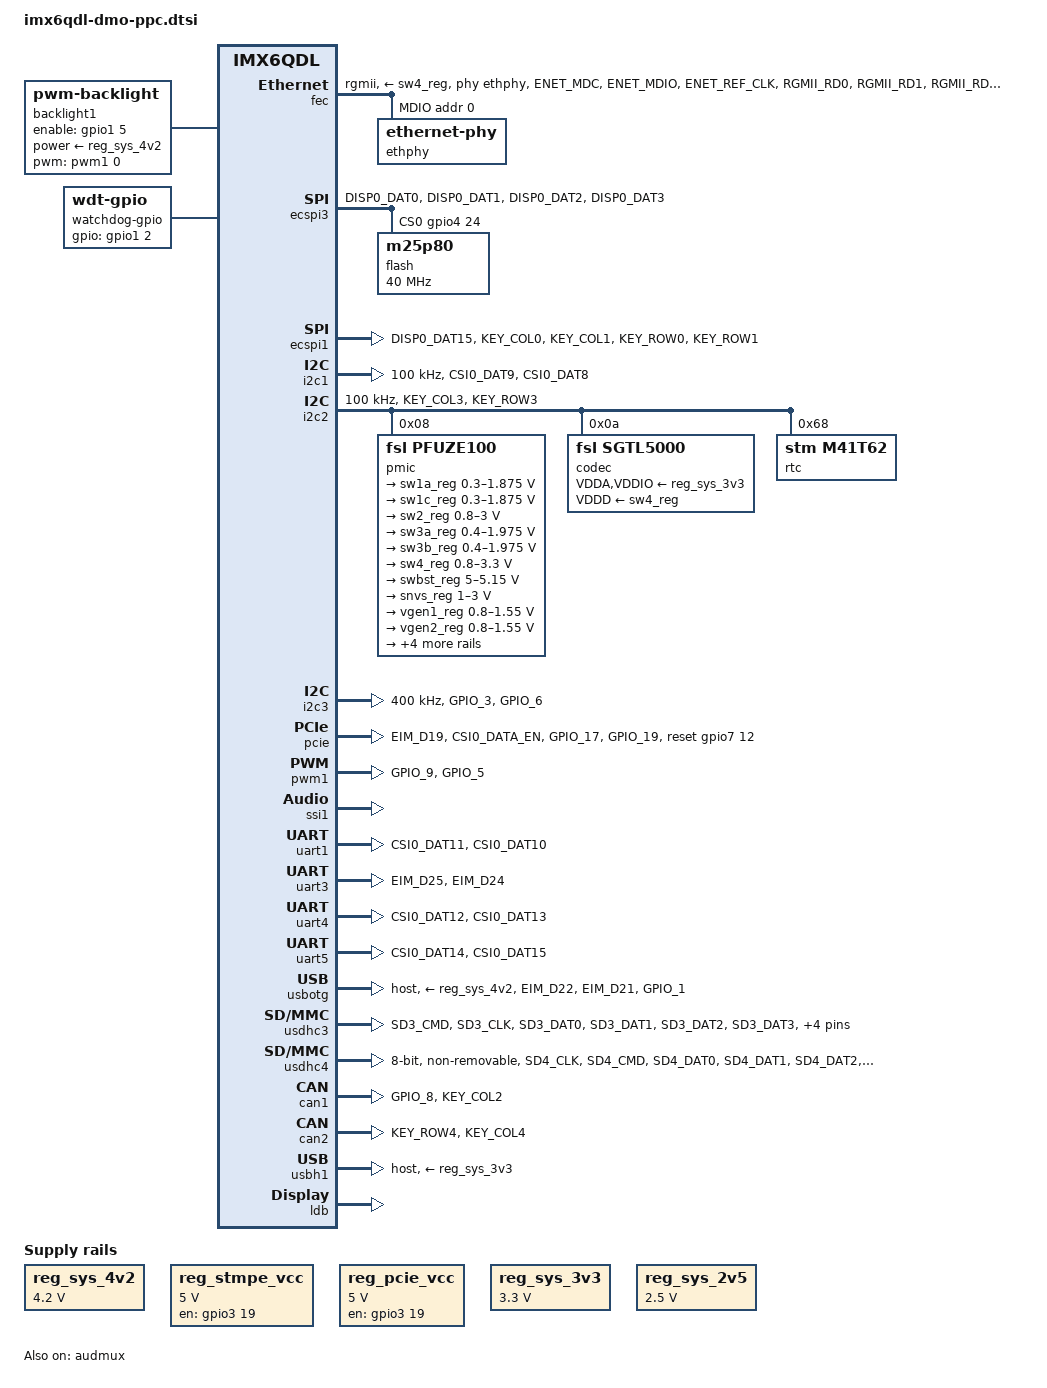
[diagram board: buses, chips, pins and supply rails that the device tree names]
/*
 * Copyright 2011 Freescale Semiconductor, Inc.
 * Copyright 2011 Linaro Ltd.
 * Copyright 2017 Data Modul AG, Reyhaneh Yazdani <reyhane.y84@gmail.com>
 *
 * The code contained herein is licensed under the GNU General Public
 * License. You may obtain a copy of the GNU General Public License
 * Version 2 or later at the following locations:
 *
 * http://www.opensource.org/licenses/gpl-license.html
 * http://www.gnu.org/copyleft/gpl.html
 */

#include <dt-bindings/gpio/gpio.h>
#include <dt-bindings/net/ti-dp83867.h>

/ {
	chosen {
		linux,stdout-path = &uart1;
	};

	clocks {
		rmii_clk: clock@0 {
			compatible = "fixed-clock";
			reg = <0>;
			#clock-cells = <0>;
			clock-frequency = <50000000>; /* 50MHz */
		};
		
		anaclk1 {
			compatible = "fixed-clock";
			reg = <0>;
			#clock-cells = <0>;
			clock-frequency = <100000000>; /* 100MHz */
		};
	};

	soc {
		pcie2: pcie2@0x01000000 {
			compatible = "fsl,imx6q-pcie", "snps,dw-pcie";
			reg = <0x01ffc000 0x04000>,
			      <0x01f00000 0x80000>;
			reg-names = "dbi", "config";
			#address-cells = <3>;
			#size-cells = <2>;
			device_type = "pci";
			ranges = <0x00000800 0 0x01f00000 0x01f00000 0 0x00080000 /* configuration space */
				  0x81000000 0 0          0x01f80000 0 0x00010000 /* downstream I/O  */
				  0x82000000 0 0x01000000 0x01000000 0 0x00f00000>; /* non-prefetchable  memory */
			num-lanes = <1>;
			interrupts = <GIC_SPI 120 IRQ_TYPE_LEVEL_HIGH>;
			interrupt-names = "msi";
			#interrupt-cells = <1>;
			interrupt-map-mask = <0 0 0 0x7>;
			interrupt-map = <0 0 0 1 &gpc GIC_SPI 123 IRQ_TYPE_LEVEL_HIGH>,
			                <0 0 0 2 &gpc GIC_SPI 122 IRQ_TYPE_LEVEL_HIGH>,
			                <0 0 0 3 &gpc GIC_SPI 121 IRQ_TYPE_LEVEL_HIGH>,
			                <0 0 0 4 &gpc GIC_SPI 120 IRQ_TYPE_LEVEL_HIGH>;
			clocks = <&clks IMX6QDL_CLK_PCIE_AXI>,
				 <&clks IMX6QDL_CLK_LVDS1_GATE>,
				 <&clks IMX6QDL_CLK_PCIE_REF_125M>;
			clock-names = "pcie", "pcie_bus", "pcie_phy";
			status = "disabled";
		};

		aips-bus@02100000 { /* AIPS2 */
			fec: ethernet@02188000 {
				compatible = "fsl,imx6q-fec";
				reg = <0x02188000 0x4000>;
				interrupts-extended =
					<&intc 0 118 IRQ_TYPE_LEVEL_HIGH>,
					<&intc 0 119 IRQ_TYPE_LEVEL_HIGH>;
				clocks = <&clks IMX6QDL_CLK_ENET>,
					 <&clks IMX6QDL_CLK_ENET>,
					 <&clks IMX6QDL_CLK_ENET_REF>,
					 <&rmii_clk>;
				clock-names = "ipg", "ahb", "ptp";
				status = "disabled";
			};

			ocotp: ocotp@021bc000 {
				compatible = "fsl,imx6q-ocotp", "syscon";
				reg = <0x021bc000 0x4000>;
				clocks = <&clks IMX6QDL_CLK_IIM>;
			};
		};
	};

	backlight1: backlight {
		compatible = "pwm-backlight";

		pwms = <&pwm1 0 5000000>;

		enable-gpios = <&gpio1 5 GPIO_ACTIVE_HIGH>;
		power-supply = <&reg_sys_4v2>;

		brightness-levels = <0 1 10 20 30 40 50 60 70 75 80 90 100>;
		default-brightness-level = <7>;
	};

	regulators {
		compatible = "simple-bus";

		#address-cells = <1>;
		#size-cells = <0>;

		reg_sys_4v2: regulator@1 {
			compatible = "regulator-fixed";
			reg = <0>;
			regulator-name = "sys_4v2";
			regulator-min-microvolt = <4200000>;
			regulator-max-microvolt = <4200000>;
			regulator-boot-on;
			regulator-always-on;
		};

		reg_stmpe_vcc: regulator@2 {
			compatible = "regulator-fixed";
			reg = <1>;

			regulator-name = "stmpe_vcc";
			regulator-min-microvolt = <5000000>;
			regulator-max-microvolt = <5000000>;
			gpio = <&gpio3 19 GPIO_ACTIVE_HIGH>;
			enable-active-high;
			regulator-always-on;
		};

		reg_pcie_vcc: regulator@3 {
			compatible = "regulator-fixed";
			reg = <2>;

			regulator-name = "pcie_vcc";
			regulator-min-microvolt = <5000000>;
			regulator-max-microvolt = <5000000>;
			gpio = <&gpio3 19 GPIO_ACTIVE_HIGH>;
			enable-active-high;
			regulator-always-on;
		};

		reg_sys_3v3: regulator@4 {
			compatible = "regulator-fixed";
			reg = <3>;
			regulator-name = "sys_3v3";
			regulator-min-microvolt = <3300000>;
			regulator-max-microvolt = <3300000>;
			regulator-boot-on;
			regulator-always-on;
		};

		reg_sys_2v5: regulator@5 {
			compatible = "regulator-fixed";
			reg = <4>;
			regulator-name = "sys_2v5";
			regulator-min-microvolt = <2500000>;
			regulator-max-microvolt = <2500000>;
			regulator-boot-on;
			regulator-always-on;
		};
	};

	sound {
		compatible = "fsl,imx-audio-sgtl5000";
		model = "imx6qdl-dmo-ppc-sgtl5000";
		ssi-controller = <&ssi1>;
		audio-codec = <&codec>;
		audio-routing =
			"Line Out Jack", "LINE_OUT",
			"Headphone Jack", "HP_OUT",
			"Mic Jack", "MIC_IN",
			"Mic Bias", "Mic Jack";
		mux-int-port = <1>;
		mux-ext-port = <3>;
	};

	watchdog-gpio {
		pinctrl-names = "default";
		pinctrl-0 = <&pinctrl_watchdog>;
		compatible = "linux,wdt-gpio";
		gpios = <&gpio1 2 GPIO_ACTIVE_HIGH>;
		hw_algo = "level";
		hw_margin_ms = <306>;
		status = "okay";
	};
};

&audmux {
	pinctrl-names = "default";
	pinctrl-0 = <&pinctrl_audmux>;
	status = "okay";
};

&ecspi3 {
	pinctrl-names = "default";
	pinctrl-0 = <&pinctrl_ecspi3>;

	fsl,spi-num-chipselects = <1>;
	cs-gpios = <&gpio4 24 GPIO_ACTIVE_HIGH>;

	status = "okay";

	flash: m25p80@0 {
		compatible = "m25p80";
		spi-max-frequency = <40000000>;
		reg = <0>;

		#address-cells = <1>;
		#size-cells = <1>;
	};
};

&ecspi1 {
	pinctrl-names = "default";
	pinctrl-0 = <&pinctrl_ecspi1>;

	fsl,spi-num-chipselects = <2>;
	cs-gpios = <&gpio4 9 GPIO_ACTIVE_HIGH>, /* GPIO4_09 */
		   <&gpio5 9 GPIO_ACTIVE_HIGH>; /* GPIO5_09 */

	status = "okay";

	/* The spidev node is not available by default since it is no more
	 * supported in device trees. To have a dummy spi device, the following
	 * nodes should be enabled( status = "okay" ) and in kernel config
	 * CONFIG_SPI_SPIDEV=y
	 */

	spidev@0 {
		reg = <0>;
		compatible = "spidev";
		spi-max-frequency = <1000000>;
		status = "disabled";
	};

	spidev@1 {
		reg = <1>;
		compatible = "spidev";
		spi-max-frequency = <1000000>;
		status = "disabled";
	};
};

&i2c1 {
	pinctrl-names = "default";
	pinctrl-0 = <&pinctrl_i2c1>;

	clock-frequency = <100000>;

	status = "okay";
};

&i2c2 {
	pinctrl-names = "default";
	pinctrl-0 = <&pinctrl_i2c2>;

	clock-frequency = <100000>;

	status = "okay";

	pmic: pfuze100@08 {
		compatible = "fsl,pfuze100";
		reg = <0x08>;

		regulators {
			sw1a_reg: sw1ab {
				regulator-min-microvolt = <300000>;
				regulator-max-microvolt = <1875000>;
				regulator-boot-on;
				regulator-always-on;
				regulator-ramp-delay = <6250>;
			};

			sw1c_reg: sw1c {
				regulator-min-microvolt = <300000>;
				regulator-max-microvolt = <1875000>;
				regulator-boot-on;
				regulator-always-on;
				regulator-ramp-delay = <6250>;
			};

			sw2_reg: sw2 {
				regulator-min-microvolt = <800000>;
				regulator-max-microvolt = <3000000>;
				regulator-boot-on;
			};

			sw3a_reg: sw3a {
				regulator-min-microvolt = <400000>;
				regulator-max-microvolt = <1975000>;
				regulator-boot-on;
				regulator-always-on;
			};

			sw3b_reg: sw3b {
				regulator-min-microvolt = <400000>;
				regulator-max-microvolt = <1975000>;
				regulator-boot-on;
				regulator-always-on;
			};

			sw4_reg: sw4 {
				regulator-min-microvolt = <800000>;
				regulator-max-microvolt = <3300000>;
			};

			swbst_reg: swbst {
				regulator-min-microvolt = <5000000>;
				regulator-max-microvolt = <5150000>;
				regulator-always-on;
			};

			snvs_reg: vsnvs {
				regulator-min-microvolt = <1000000>;
				regulator-max-microvolt = <3000000>;
				regulator-boot-on;
				regulator-always-on;
			};

			vref_reg: vrefddr {
				regulator-boot-on;
				regulator-always-on;
			};

			vgen1_reg: vgen1 {
				regulator-min-microvolt = <800000>;
				regulator-max-microvolt = <1550000>;
				regulator-always-on;
			};

			vgen2_reg: vgen2 {
				regulator-min-microvolt = <800000>;
				regulator-max-microvolt = <1550000>;
				regulator-always-on;
			};

			vgen3_reg: vgen3 {
				regulator-min-microvolt = <1800000>;
				regulator-max-microvolt = <3300000>;
				regulator-always-on;
			};

			vgen4_reg: vgen4 {
				regulator-min-microvolt = <1800000>;
				regulator-max-microvolt = <3300000>;
				regulator-always-on;
			};

			vgen5_reg: vgen5 {
				regulator-min-microvolt = <1800000>;
				regulator-max-microvolt = <3300000>;
				regulator-always-on;
			};

			vgen6_reg: vgen6 {
				regulator-min-microvolt = <1800000>;
				regulator-max-microvolt = <3300000>;
				regulator-always-on;
			};
		};
	};

	codec: sgtl5000@0a {
		compatible = "fsl,sgtl5000";
		reg = <0x0a>;

		pinctrl-names = "default";
		pinctrl-0 = <&pinctrl_codec>;

		clocks = <&clks IMX6QDL_CLK_CKO>;

		VDDA-supply = <&reg_sys_3v3>;
		VDDIO-supply = <&reg_sys_3v3>;
		VDDD-supply = <&sw4_reg>;
	};

	rtc: m41t62@86 {
		compatible = "stm,m41t62";
		reg = <0x68>;
	};
};

&i2c3 {
	pinctrl-names = "default";
	pinctrl-0 = <&pinctrl_i2c3>;

	clock-frequency = <400000>;

	status = "okay";
};

&iomuxc {
	imx6qdl-dmo-ppc {
		pinctrl_hog: hoggrp {
			fsl,pins = <
				/* hwid 0 */
				MX6QDL_PAD_SD2_CMD__GPIO1_IO11		0x1b0b0
				/* hwid 1 */
				MX6QDL_PAD_SD2_CLK__GPIO1_IO10		0x1b0b0
				/* hwid 2 */
				MX6QDL_PAD_SD2_DAT0__GPIO1_IO15		0x1b0b0
				/* hwid 3 */
				MX6QDL_PAD_SD2_DAT1__GPIO1_IO14		0x1b0b0
				/* hwid 4 */
				MX6QDL_PAD_SD2_DAT2__GPIO1_IO13		0x1b0b0
				/* hwid 5 */
				MX6QDL_PAD_SD2_DAT3__GPIO1_IO12		0x1b0b0
				/* hwid 6 */
				MX6QDL_PAD_SD1_CMD__GPIO1_IO18		0x1b0b0
				/* hwid 7 */
				MX6QDL_PAD_SD1_CLK__GPIO1_IO20		0x1b0b0
				/* dram id 0 */
				MX6QDL_PAD_EIM_D18__GPIO3_IO18		0x0001B0B0
				/* dram id 1 */
				MX6QDL_PAD_EIM_D17__GPIO3_IO17		0x1b0b0
				/* jog dial ina */
				MX6QDL_PAD_CSI0_DAT16__GPIO6_IO02	0x0001B0B0
				/* jog dial inb */
				MX6QDL_PAD_CSI0_DAT17__GPIO6_IO03	0x0001B0B0
				/* jog dial push in */
				MX6QDL_PAD_DISP0_DAT9__GPIO4_IO30	0x0001B0B0
			>;
		};

		pinctrl_watchdog: watchdoggrp {
			fsl,pins = <
				MX6QDL_PAD_NANDF_D5__GPIO2_IO05		0x0001B0B0 /* wdg EN */
				MX6QDL_PAD_GPIO_2__GPIO1_IO02		0x0001B0B0 /* wdg kick */
				>;
		};

		pinctrl_audmux: audmuxgrp {
			fsl,pins = <
				MX6QDL_PAD_CSI0_DAT4__AUD3_TXC		0x0001B0B0
				MX6QDL_PAD_CSI0_DAT5__AUD3_TXD		0x0001B0B0
				MX6QDL_PAD_CSI0_DAT6__AUD3_TXFS		0x0001B0B0
				MX6QDL_PAD_CSI0_DAT7__AUD3_RXD		0x0001B0B0
				MX6QDL_PAD_GPIO_7__GPIO1_IO07		0x0001B0B0 /* en pwr audio !!!!! */
				>;
		};

		pinctrl_codec: codecgrp {
			fsl,pins = <
				MX6QDL_PAD_GPIO_0__CCM_CLKO1		0x0001B0B0
			>;
		};

		pinctrl_pcie: pciegrp {
			fsl,pins = <
				MX6QDL_PAD_EIM_D19__GPIO3_IO19		0x1b0b0 /* pwr en */
				MX6QDL_PAD_CSI0_DATA_EN__GPIO5_IO20	0x1b0b0 /* wakeup */
				MX6QDL_PAD_GPIO_17__GPIO7_IO12		0x130b0 /* reset */
				MX6QDL_PAD_GPIO_19__GPIO4_IO05		0x1b0b0	/* dis */
			>;
		};

		pinctrl_pwm_backlight: backlightgrp {
			fsl,pins = <
				MX6QDL_PAD_GPIO_9__PWM1_OUT		0x0001B0B0
				MX6QDL_PAD_GPIO_5__GPIO1_IO05		0x0001B0B0 /* en pwr LVDS*/
			>;
		};

		pinctrl_ecspi3: ecspi3grp {
			fsl,pins = <
				MX6QDL_PAD_DISP0_DAT0__ECSPI3_SCLK	0x0001B0B0
				MX6QDL_PAD_DISP0_DAT1__ECSPI3_MOSI	0x0001B0B0
				MX6QDL_PAD_DISP0_DAT2__ECSPI3_MISO	0x0001B0B0
				MX6QDL_PAD_DISP0_DAT3__GPIO4_IO24	0x0001B0B0
			>;
		};

		pinctrl_ecspi1: ecspi1grp {
			fsl,pins = <
				MX6QDL_PAD_DISP0_DAT15__GPIO5_IO09	0x0001B0B0
				MX6QDL_PAD_KEY_COL0__ECSPI1_SCLK	0x0001B0B0
				MX6QDL_PAD_KEY_COL1__ECSPI1_MISO	0x0001B0B0
				MX6QDL_PAD_KEY_ROW0__ECSPI1_MOSI	0x0001B0B0
				MX6QDL_PAD_KEY_ROW1__GPIO4_IO09		0x0001B0B0
			>;
		};

		pinctrl_i2c1: i2c1grp {
			fsl,pins = <
				MX6QDL_PAD_CSI0_DAT9__I2C1_SCL		0x4001B8B0
				MX6QDL_PAD_CSI0_DAT8__I2C1_SDA		0x4001B8B0
			>;
		};

		pinctrl_i2c2: i2c2grp {
			fsl,pins = <
				MX6QDL_PAD_KEY_COL3__I2C2_SCL		0x4001B8B0
				MX6QDL_PAD_KEY_ROW3__I2C2_SDA		0x4001B8B0
			>;
		};

		pinctrl_i2c3: i2c3grp {
			fsl,pins = <
				MX6QDL_PAD_GPIO_3__I2C3_SCL		0x4001B8B0
				MX6QDL_PAD_GPIO_6__I2C3_SDA		0x4001B8B0
			>;
		};

		pinctrl_uart1: uart1grp {
			fsl,pins = <
				MX6QDL_PAD_CSI0_DAT11__UART1_RX_DATA	0x0001B0B0
				MX6QDL_PAD_CSI0_DAT10__UART1_TX_DATA	0x0001B0B0
			>;
		};

		pinctrl_uart2: uart2grp {
			fsl,pins = <
				MX6QDL_PAD_EIM_D26__UART2_TX_DATA	0x0001B0B0
				MX6QDL_PAD_EIM_D27__UART2_RX_DATA	0x0001B0B0
				MX6QDL_PAD_EIM_D28__UART2_CTS_B		0x0001B0B0
				MX6QDL_PAD_EIM_D28__UART2_RTS_B		0x0001B0B0
			>;
		};

		pinctrl_uart3: uart3grp {
			fsl,pins = <
				MX6QDL_PAD_EIM_D25__UART3_RX_DATA	0x1b0b0
				MX6QDL_PAD_EIM_D24__UART3_TX_DATA	0x1b0b0
			>;
		};

		pinctrl_uart4: uart4grp {
			fsl,pins = <
				MX6QDL_PAD_CSI0_DAT12__UART4_TX_DATA	0x0001B0B0
				MX6QDL_PAD_CSI0_DAT13__UART4_RX_DATA	0x0001B0B0
			>;
		};

		pinctrl_uart5: uart5grp {
			fsl,pins = <
				MX6QDL_PAD_CSI0_DAT14__UART5_TX_DATA	0x0001B0B0
				MX6QDL_PAD_CSI0_DAT15__UART5_RX_DATA	0x0001B0B0
			>;
		};

		pinctrl_usbotg: usbotggrp {
			fsl,pins = <
				MX6QDL_PAD_EIM_D22__GPIO3_IO22		0x1b0B0
				MX6QDL_PAD_EIM_D21__USB_OTG_OC		0x1b0b0
				MX6QDL_PAD_GPIO_1__USB_OTG_ID		0x0001B0B0
			>;
		};

		pinctrl_usdhc3: usdhc3grp {
			fsl,pins = <
				MX6QDL_PAD_SD3_CMD__SD3_CMD		0x1b0b0
				MX6QDL_PAD_SD3_CLK__SD3_CLK		0x1b0b1
				MX6QDL_PAD_SD3_DAT0__SD3_DATA0		0x1b0b0
				MX6QDL_PAD_SD3_DAT1__SD3_DATA1		0x1b0b0
				MX6QDL_PAD_SD3_DAT2__SD3_DATA2		0x1b0b0
				MX6QDL_PAD_SD3_DAT3__SD3_DATA3		0x1b0b0
				MX6QDL_PAD_NANDF_D0__GPIO2_IO00		0x1b0b0 /* CD */
				MX6QDL_PAD_NANDF_D1__GPIO2_IO01		0x1b0b0 /* WP */
			>;
		};

		pinctrl_usdhc4: usdhc4grp { /* eMMC */
			fsl,pins = <
				MX6QDL_PAD_SD4_CLK__SD4_CLK		0x1b0b1
				MX6QDL_PAD_SD4_CMD__SD4_CMD		0x1b0b0
				MX6QDL_PAD_SD4_DAT0__SD4_DATA0		0x1b0b0
				MX6QDL_PAD_SD4_DAT1__SD4_DATA1		0x1b0b0
				MX6QDL_PAD_SD4_DAT2__SD4_DATA2		0x1b0b0
				MX6QDL_PAD_SD4_DAT3__SD4_DATA3		0x1b0b0
				MX6QDL_PAD_SD4_DAT4__SD4_DATA4		0x1b0b0
				MX6QDL_PAD_SD4_DAT5__SD4_DATA5		0x1b0b0
				MX6QDL_PAD_SD4_DAT6__SD4_DATA6		0x1b0b0
				MX6QDL_PAD_SD4_DAT7__SD4_DATA7		0x1b0b0
			>;
		};

		pinctrl_can1: can1grp {
			fsl,pins = <
				MX6QDL_PAD_GPIO_8__FLEXCAN1_RX		0x0001B0B0
				MX6QDL_PAD_KEY_COL2__FLEXCAN1_TX	0x0001B0B0
			>;
		};

		pinctrl_can2: can2grp {
			fsl,pins = <
				MX6QDL_PAD_KEY_ROW4__FLEXCAN2_RX	0x0001B0B0
				MX6QDL_PAD_KEY_COL4__FLEXCAN2_TX	0x0001B0B0
			>;
		};

		pinctrl_fec: fecgrp { /* Ethernet */
			fsl,pins = <
				MX6QDL_PAD_ENET_MDC__ENET_MDC		0x0001B0B0
				MX6QDL_PAD_ENET_MDIO__ENET_MDIO		0x0001B0B0
				MX6QDL_PAD_ENET_REF_CLK__ENET_TX_CLK	0x00013030
				MX6QDL_PAD_RGMII_RD0__RGMII_RD0		0x0001B030
				MX6QDL_PAD_RGMII_RD1__RGMII_RD1		0x0001B030
				MX6QDL_PAD_RGMII_RD2__RGMII_RD2		0x0001B030
				MX6QDL_PAD_RGMII_RD3__RGMII_RD3		0x0001B030
				MX6QDL_PAD_RGMII_RXC__RGMII_RXC		0x00013030
				MX6QDL_PAD_RGMII_RX_CTL__RGMII_RX_CTL	0x00013030
				MX6QDL_PAD_RGMII_TD0__RGMII_TD0		0x0001B030
				MX6QDL_PAD_RGMII_TD1__RGMII_TD1		0x0001B030
				MX6QDL_PAD_RGMII_TD2__RGMII_TD2		0x0001B030
				MX6QDL_PAD_RGMII_TD3__RGMII_TD3		0x0001B030
				MX6QDL_PAD_RGMII_TXC__RGMII_TXC		0x00013030
				MX6QDL_PAD_RGMII_TX_CTL__RGMII_TX_CTL	0x00013030
				MX6QDL_PAD_ENET_CRS_DV__GPIO1_IO25	0x0001B0B0 /* enet reset */
				MX6QDL_PAD_ENET_TX_EN__GPIO1_IO28	0x0001B0B0 /* INT/PWDN */
			>;
		};

		pinctrl_hdmi: hdmigrp {
			fsl,pins = <
				MX6QDL_PAD_EIM_D16__HDMI_TX_DDC_SDA	0x0001B0B0
				MX6QDL_PAD_EIM_EB2__HDMI_TX_DDC_SCL	0x0001B0B0
			>;
		};
	};
};

&fec {
	pinctrl-names = "default";
	pinctrl-0 = <&pinctrl_fec>;
	phy-mode = "rgmii";
	phy-handle = <&ethphy>;
	phy-reset-gpios = <&gpio1 25 0>; /* GPIO1_IO25  */
	phy-supply = <&sw4_reg>;
	status = "okay";

	mdio {
		#address-cells = <1>;
		#size-cells = <0>;
		ethphy: ethernet-phy@0 {
			reg = <0>;
			ti,rx-internal-delay = <DP83867_RGMIIDCTL_2_00_NS>;
			ti,tx-internal-delay = <DP83867_RGMIIDCTL_1_50_NS>;
			ti,fifo-depth = <DP83867_PHYCR_FIFO_DEPTH_4_B_NIB>;
			ti,clk_out = <DP83867_CLK_OUT_CHAN_A_RX_CLK>;
		};
	};
};

&pcie {
	pinctrl-names = "default";
	pinctrl-0 = <&pinctrl_pcie>;
	reset-gpio = <&gpio7 12 GPIO_ACTIVE_HIGH>;
	status = "okay";
};

&pwm1 {
	pinctrl-names = "default";
	pinctrl-0 = <&pinctrl_pwm_backlight>;
	status = "okay";
};

&ssi1 {
	fsl,mode = "i2s-slave";
	status = "okay";
};

&snvs_rtc {
	status = "disabled";
};

&uart1 {
	pinctrl-names = "default";
	pinctrl-0 = <&pinctrl_uart1>;
	status = "okay";
};

&uart3 {
	pinctrl-names = "default";
	pinctrl-0 = <&pinctrl_uart3>;
	status = "okay";
};

&uart4 {
	pinctrl-names = "default";
	pinctrl-0 = <&pinctrl_uart4>;
	status = "okay";
};

&uart5 {
	pinctrl-names = "default";
	pinctrl-0 = <&pinctrl_uart5>;
	fsl,uart-has-rtscts;
	status = "okay";
};

&usbotg {
	pinctrl-names = "default";
	pinctrl-0 = <&pinctrl_usbotg>;
	vbus-supply = <&reg_sys_4v2>;
	dr_mode = "host";
	status = "okay";
};

&usdhc3 {
	pinctrl-names = "default";
	pinctrl-0 = <&pinctrl_usdhc3>;
	cd-gpios = <&gpio2 0 GPIO_ACTIVE_LOW>;
	/* WP cannot be really used on uSD socket */
	wp-gpios = <&gpio2 1 GPIO_ACTIVE_HIGH>;
	status = "okay";
};

&usdhc4 {
	pinctrl-names = "default";
	pinctrl-0 = <&pinctrl_usdhc4>;
	non-removable;
	bus-width = <8>;
	status = "okay";
};

&vpu {
	power-domains = <&gpc 1>;
};

&can1 {
	pinctrl-names = "default";
	pinctrl-0 = <&pinctrl_can1>;
	status = "okay";
};

&can2 {
	pinctrl-names = "default";
	pinctrl-0 = <&pinctrl_can2>;
	status = "okay";
};

&usbh1 {
	pinctrl-names = "default";
	vbus-supply = <&reg_sys_3v3>;
	dr_mode = "host";
	status = "okay";
};

&ldb {
	status = "okay";

	lvds-channel@0 {
		status = "disabled";
		fsl,data-mapping = "spwg";
		fsl,data-width = <24>;
	};

	lvds-channel@1 {
		status = "disabled";
		fsl,data-mapping = "spwg";
		fsl,data-width = <24>;
	};
};
